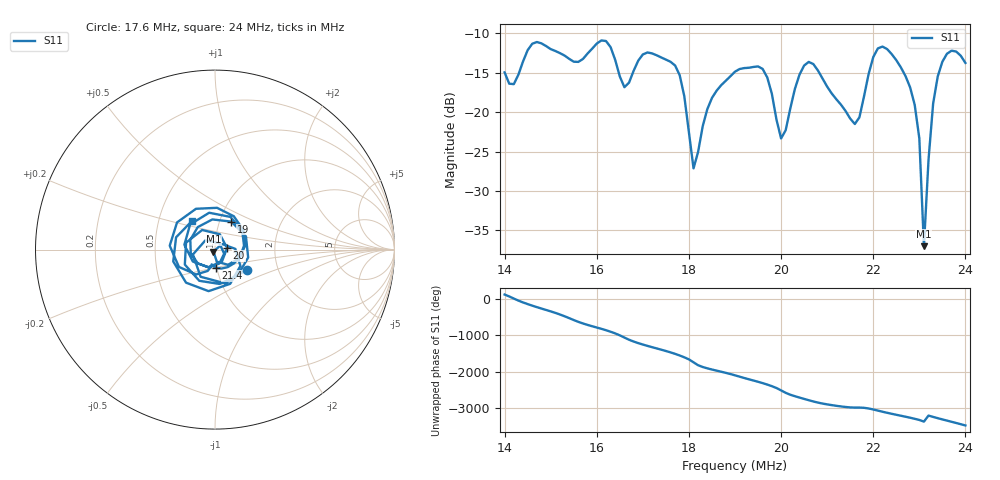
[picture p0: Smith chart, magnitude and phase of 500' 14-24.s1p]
# HZ S RI R 50
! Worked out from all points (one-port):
!   101 points, 14 MHz to 24 MHz, reference 50 ohm
!   lowest |S11| = -37.0 dB at 23.1 MHz (marker M1), VSWR 1.03, Z = 49.1 - j1.11 ohm
!   |S11| at or under -10 dB: start of sweep to end of sweep
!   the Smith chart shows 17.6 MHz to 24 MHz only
!   S11 on the Smith chart (normalised r, x): 17.6 MHz: 1.38, -0.32; 19 MHz: 1.14, +0.37; 20 MHz: 1.14, +0.02; 21.4 MHz: 0.99, -0.20; 24 MHz: 0.74, +0.25
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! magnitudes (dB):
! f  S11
! 14 MHz  -15.0
! 14.2 MHz  -16.5
! 14.7 MHz  -11.1
! 15.3 MHz  -12.8
! 16.2 MHz  -11.0
! 16.5 MHz  -15.5
! 16.6 MHz  -16.8
! 17.1 MHz  -12.4
! 17.6 MHz  -13.6
! 17.8 MHz  -15.3
! 18.1 MHz  -27.1
! 18.5 MHz  -18.2
! 19 MHz  -14.9
! 19.6 MHz  -14.5
! 20 MHz  -23.3
! 20.3 MHz  -17.1
! 20.6 MHz  -13.6
! 21.4 MHz  -19.9
! 21.5 MHz  -20.8
! 21.7 MHz  -20.7
! 22.1 MHz  -11.9
! 22.8 MHz  -16.9
! 23 MHz  -23.3
! 23.1 MHz  -37.0
! 23.2 MHz  -26.0
! 23.4 MHz  -15.5
! 23.7 MHz  -12.2
! 24 MHz  -13.8
